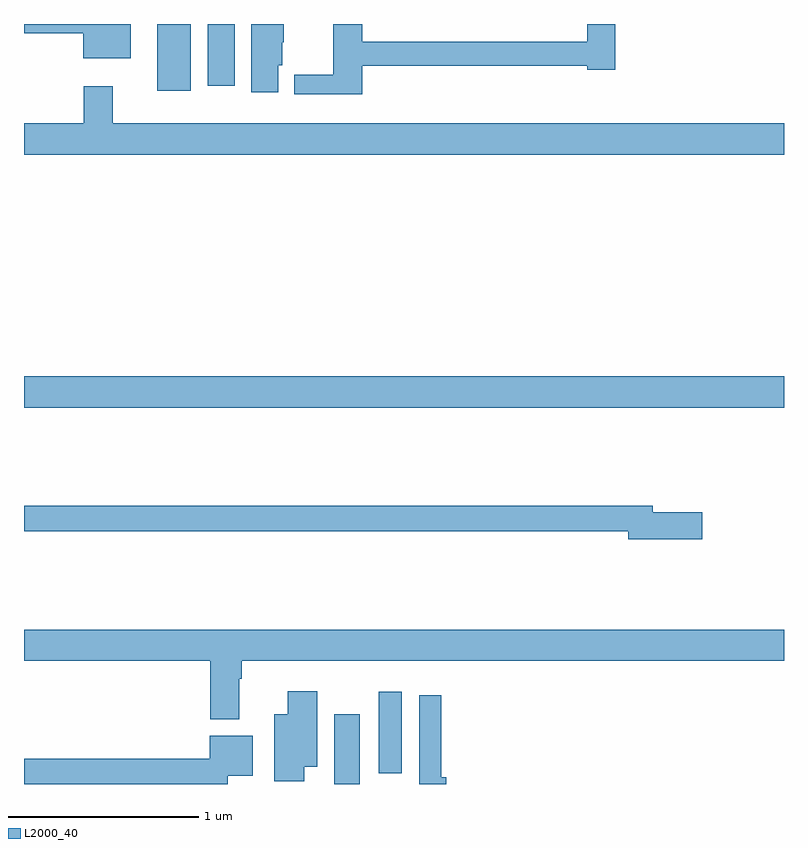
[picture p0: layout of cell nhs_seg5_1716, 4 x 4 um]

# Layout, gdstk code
import gdstk
lib = gdstk.Library(unit=1e-6, precision=1e-09)
def R(c, l, rs):  # rectangles x0, y0, x1, y1
    for r in rs: c.add(gdstk.rectangle(r[:2], r[2:], *l))
def P(c, l, *ps):  # polygons
    for p in ps: c.add(gdstk.Polygon(p, *l))
L2000_40 = (2000, 40)

nhs_seg5_1716 = lib.new_cell('nhs_seg5_1716')
R(nhs_seg5_1716, L2000_40, [(216.632,834.799,216.766,835.165), (216.866,834.855,216.988,835.285), (215,836.78,219,836.944), (215.702,838.448,215.878,838.799), (215.966,838.473,216.109,838.799)])
P(nhs_seg5_1716, L2000_40, [(216.779,838.578),(217.964,838.578),(217.964,838.559),(218.111,838.559),(218.111,838.799),(217.964,838.799),(217.964,838.706),(216.779,838.706),(216.779,838.799),(216.628,838.799),(216.628,838.532),(216.423,838.532),(216.423,838.43),(216.779,838.43)],
  [(215.563,838.799),(215,838.799),(215,838.75),(215.312,838.75),(215.312,838.619),(215.563,838.619)],
  [(216.337,838.581),(216.358,838.581),(216.358,838.704),(216.367,838.704),(216.367,838.799),(216.197,838.799),(216.197,838.44),(216.337,838.44)],
  [(219,838.276),(215.467,838.276),(215.467,838.471),(215.315,838.471),(215.315,838.276),(215,838.276),(215,838.112),(219,838.112)],
  [(218.569,836.228),(218.308,836.228),(218.308,836.264),(215,836.264),(215,836.128),(218.18,836.128),(218.18,836.086),(218.569,836.086)],
  [(216.133,835.352),(216.146,835.352),(216.146,835.448),(219,835.448),(219,835.612),(215,835.612),(215,835.448),(215.981,835.448),(215.981,835.139),(216.133,835.139)],
  [(216.475,834.89),(216.544,834.89),(216.544,835.288),(216.389,835.288),(216.389,835.165),(216.317,835.165),(216.317,834.813),(216.475,834.813)],
  [(217.223,834.835),(217.196,834.835),(217.196,835.267),(217.08,835.267),(217.08,834.799),(217.223,834.799)],
  [(216.072,834.842),(216.205,834.842),(216.205,835.054),(215.978,835.054),(215.978,834.932),(215,834.932),(215,834.799),(216.072,834.799)])

lib.write_gds('nhs_seg5_1716.gds')
